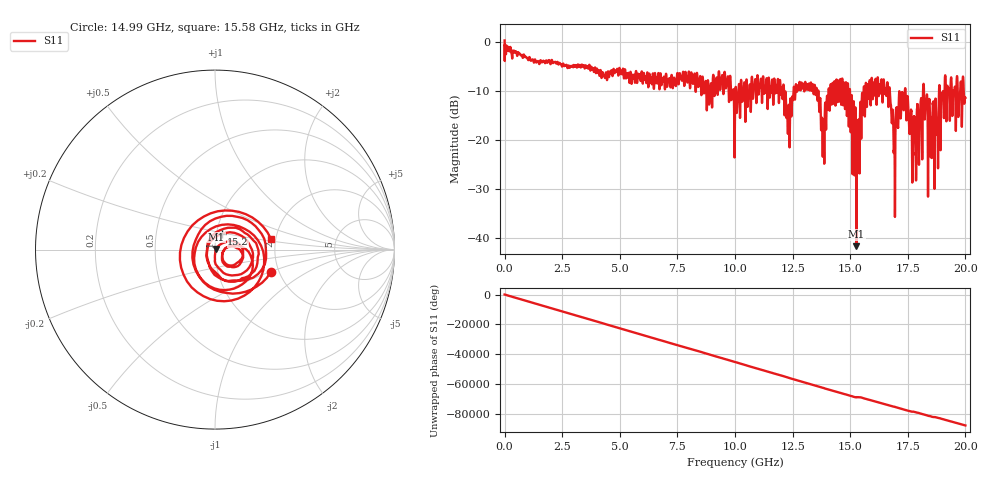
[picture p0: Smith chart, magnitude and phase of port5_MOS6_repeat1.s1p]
! MS46122B
! 2250307/22442219
! 7/28/2025 2:10:16 PM
! C:\USERS\SPARKY\DOCUMENTS\VNA_DATA\JULY28_2025\3K\PORT5_MOS6_REPEAT1.S1P
! CHANNEL.1
! TR.MEASUREMENT
! RAW.DATA
# GHZ S RI R 50.0
! FREQ.GHZ  S11RE  S11IM
!; PortSelection: Port_1
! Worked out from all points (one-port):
!   10001 points, 1 MHz to 20 GHz, reference 50 ohm
!   lowest |S11| = -41.7 dB at 15.27 GHz (marker M1), VSWR 1.02, Z = 50.7 + j0.377 ohm
!   |S11| at or under -10 dB: 14.99 GHz to 15.58 GHz (591 MHz wide, 3.87 % of centre); 17.4 GHz to 18.16 GHz (760 MHz wide, 4.27 % of centre); 18.2 GHz to 18.86 GHz (653.7 MHz wide, 3.53 % of centre) (the widest 3 of 80)
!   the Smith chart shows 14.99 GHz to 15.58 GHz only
!   S11 on the Smith chart (normalised r, x): 14.99 GHz: 1.81, -0.50; 15.2 GHz: 1.06, +0.18; 15.58 GHz: 1.88, +0.26
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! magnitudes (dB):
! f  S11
! 1 MHz  0.4
! 2.501 GHz  -4.9
! 5.001 GHz  -5.6
! 7.501 GHz  -6.2
! 9.619 GHz  -9.0
! 10 GHz  -13.3
! 11.05 GHz  -9.1
! 12.03 GHz  -9.3
! 12.31 GHz  -16.5
! 12.5 GHz  -11.2
! 13.38 GHz  -8.6
! 13.81 GHz  -22.9
! 14.24 GHz  -8.3
! 14.99 GHz  -9.5
! 15 GHz  -11.5
! 15.2 GHz  -20.6
! 15.27 GHz  -41.7
! 15.58 GHz  -10.0
! 16.53 GHz  -9.3
! 16.77 GHz  -13.0
! 16.88 GHz  -20.8
! 17.2 GHz  -15.3
! 17.5 GHz  -11.3
! 17.78 GHz  -15.4
! 18.25 GHz  -13.7
! 18.57 GHz  -15.3
! 19.05 GHz  -12.2
! 20 GHz  -11.4
